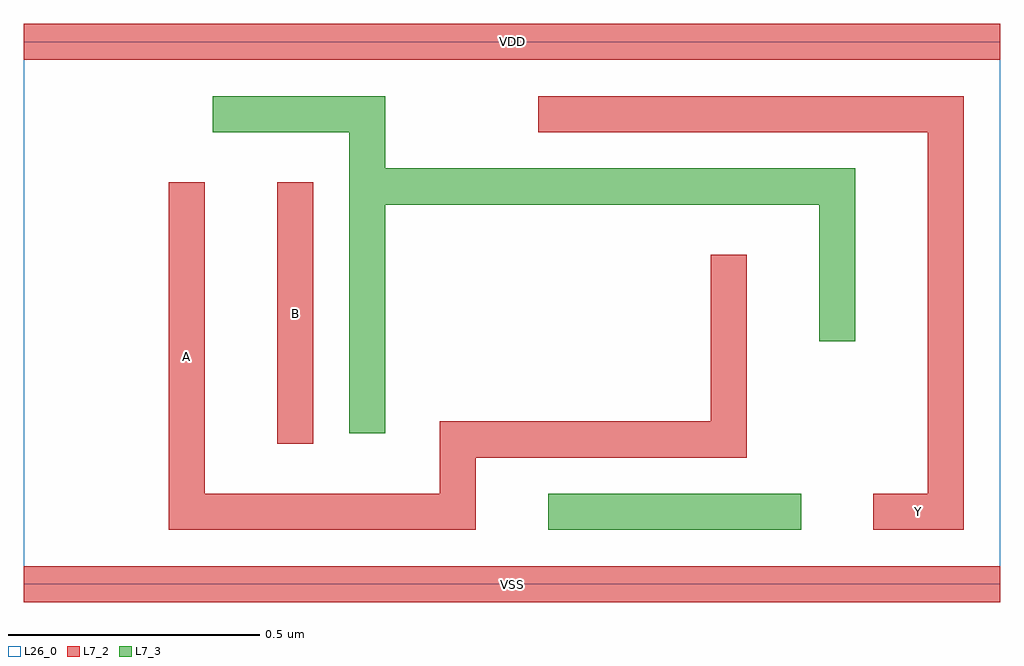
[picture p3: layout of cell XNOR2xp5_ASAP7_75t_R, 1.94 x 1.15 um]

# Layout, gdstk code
import gdstk
lib = gdstk.Library(unit=1e-6, precision=1e-09)
def R(c, l, rs):  # rectangles x0, y0, x1, y1
    for r in rs: c.add(gdstk.rectangle(r[:2], r[2:], *l))
L7_2 = (7, 2)
L7_3 = (7, 3)
L26_0 = (26, 0)

xnor2xp5_asap7_75t_r = lib.new_cell('XNOR2xp5_ASAP7_75t_R')
R(xnor2xp5_asap7_75t_r, L7_2, [(0,-0.036,1.944,0.036), (0.288,0.108,0.9,0.18), (0.288,0.108,0.36,0.8), (0.828,0.108,0.9,0.324), (1.692,0.108,1.872,0.18), (1.8,0.108,1.872,0.972), (0.828,0.252,1.44,0.324), (1.368,0.252,1.44,0.656), (0.504,0.28,0.576,0.8), (1.024,0.9,1.872,0.972), (0,1.044,1.944,1.116)])
R(xnor2xp5_asap7_75t_r, L7_3, [(1.044,0.108,1.548,0.18), (0.648,0.3,0.72,0.972), (1.584,0.484,1.656,0.828), (0.648,0.756,1.656,0.828), (0.376,0.9,0.72,0.972)])
R(xnor2xp5_asap7_75t_r, L26_0, [(0,0,1.944,1.08)])
xnor2xp5_asap7_75t_r.add(gdstk.Label('A', (0.324,0.454), layer=7, texttype=1))
xnor2xp5_asap7_75t_r.add(gdstk.Label('B', (0.54,0.54), layer=7, texttype=1))
xnor2xp5_asap7_75t_r.add(gdstk.Label('VDD', (0.972,1.08), layer=7, texttype=1))
xnor2xp5_asap7_75t_r.add(gdstk.Label('VSS', (0.972,0), layer=7, texttype=1))
xnor2xp5_asap7_75t_r.add(gdstk.Label('Y', (1.782,0.144), layer=7, texttype=1))

lib.write_gds('XNOR2xp5_ASAP7_75t_R.gds')
